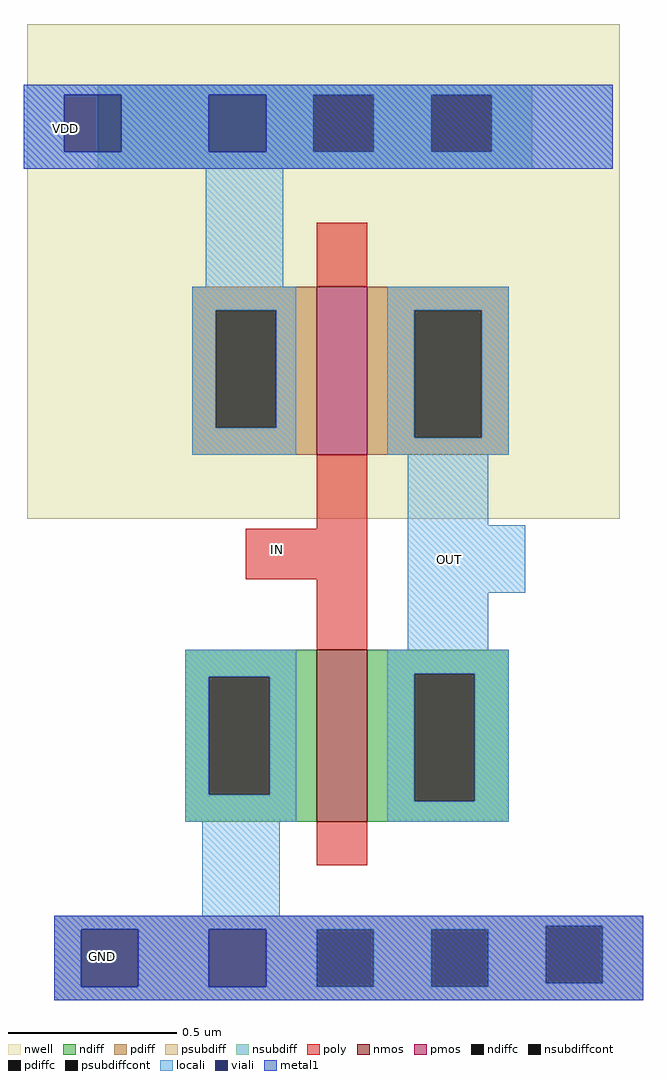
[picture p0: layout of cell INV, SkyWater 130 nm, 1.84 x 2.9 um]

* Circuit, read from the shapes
.subckt INV VDD GND IN OUT
XM1 OUT IN GND GND sky130_fd_pr__nfet_01v8 w=0.51 l=0.15
XM2 OUT IN VDD VDD sky130_fd_pr__pfet_01v8 w=0.5 l=0.15
.ends

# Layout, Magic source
magic
tech sky130A
<< nwell >>
rect -88 52 88 199
<< nmos >>
rect -2 -38 13 13
<< pmos >>
rect -2 71 13 121
<< ndiff >>
rect -41 5 -2 13
rect -41 -30 -34 5
rect -16 -30 -2 5
rect -41 -38 -2 -30
rect 13 6 55 13
rect 13 -32 27 6
rect 45 -32 55 6
rect 13 -38 55 -32
<< pdiff >>
rect -39 114 -2 121
rect -39 79 -32 114
rect -14 79 -2 114
rect -39 71 -2 79
rect 13 114 55 121
rect 13 76 27 114
rect 47 76 55 114
rect 13 71 55 76
<< ndiffc >>
rect -34 -30 -16 5
rect 27 -32 45 6
<< pdiffc >>
rect -32 79 -14 114
rect 27 76 47 114
<< psubdiff >>
rect -80 -69 95 -66
rect -80 -70 66 -69
rect -80 -87 -2 -70
rect 15 -87 32 -70
rect 49 -86 66 -70
rect 83 -86 95 -69
rect 49 -87 95 -86
rect -80 -91 95 -87
<< nsubdiff >>
rect -67 178 62 181
rect -67 161 -3 178
rect 15 161 32 178
rect 50 161 62 178
rect -67 156 62 161
<< psubdiffcont >>
rect -2 -87 15 -70
rect 32 -87 49 -70
rect 66 -86 83 -69
<< nsubdiffcont >>
rect -3 161 15 178
rect 32 161 50 178
<< poly >>
rect -2 121 13 140
rect -2 49 13 71
rect -23 34 13 49
rect -2 13 13 34
rect -2 -51 13 -38
<< locali >>
rect -89 178 86 181
rect -89 161 -77 178
rect -60 161 -34 178
rect -17 161 -3 178
rect 15 161 32 178
rect 50 161 86 178
rect -89 156 86 161
rect -35 121 -12 156
rect -39 114 -8 121
rect -39 79 -32 114
rect -14 79 -8 114
rect -39 71 -8 79
rect 19 114 55 121
rect 19 76 27 114
rect 47 76 55 114
rect 19 71 55 76
rect 25 50 49 71
rect 25 30 60 50
rect 25 13 49 30
rect -41 5 -8 13
rect -41 -30 -34 5
rect -16 -30 -8 5
rect -41 -38 -8 -30
rect 19 6 55 13
rect 19 -32 27 6
rect 45 -32 55 6
rect 19 -38 55 -32
rect -36 -66 -13 -38
rect -80 -69 95 -66
rect -80 -70 66 -69
rect -80 -87 -72 -70
rect -55 -87 -34 -70
rect -17 -87 -2 -70
rect 15 -87 32 -70
rect 49 -86 66 -70
rect 83 -86 95 -69
rect 49 -87 95 -86
rect -80 -91 95 -87
<< viali >>
rect -77 161 -60 178
rect -34 161 -17 178
rect -72 -87 -55 -70
rect -34 -87 -17 -70
<< metal1 >>
rect -89 178 86 181
rect -89 161 -77 178
rect -60 161 -34 178
rect -17 161 86 178
rect -89 156 86 161
rect -80 -70 95 -66
rect -80 -87 -72 -70
rect -55 -87 -34 -70
rect -17 -87 95 -70
rect -80 -91 95 -87
<< labels >>
flabel metal1 s -87 159 -66 177 0 FreeSans 80 0 0 0 VDD
port 0 nsew
flabel metal1 s -76 -87 -55 -69 0 FreeSans 80 0 0 0 GND
port 1 nsew
flabel poly s -24 34 -3 52 0 FreeSans 80 0 0 0 IN
port 2 nsew
flabel locali s 27 31 48 49 0 FreeSans 80 0 0 0 OUT
port 3 nsew
<< end >>
